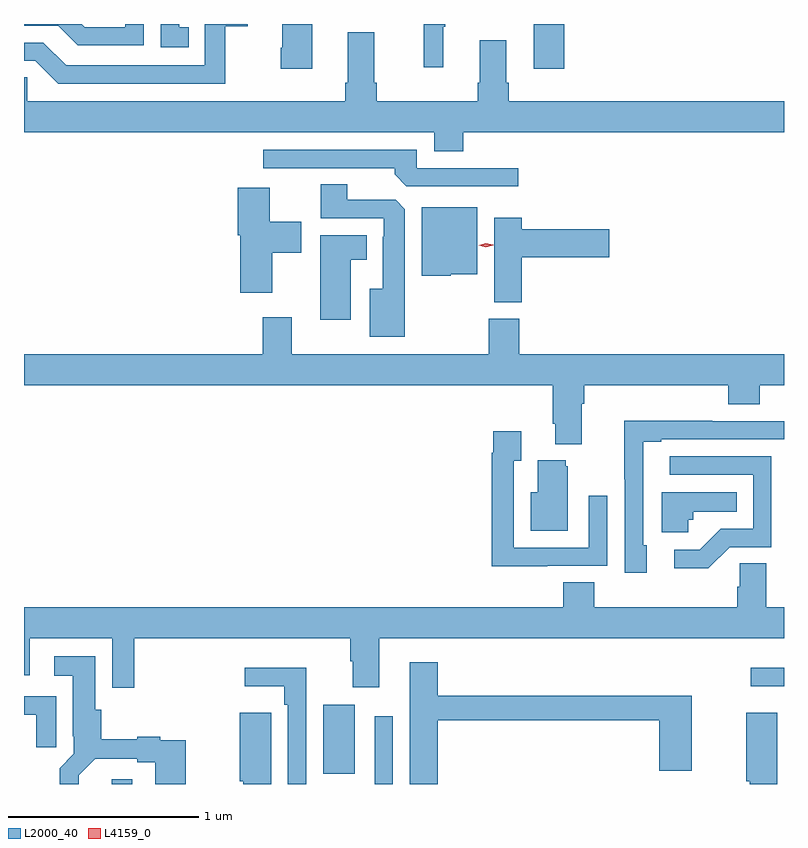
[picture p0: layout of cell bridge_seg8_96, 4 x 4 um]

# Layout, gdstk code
import gdstk
lib = gdstk.Library(unit=1e-6, precision=1e-09)
def R(c, l, rs):  # rectangles x0, y0, x1, y1
    for r in rs: c.add(gdstk.rectangle(r[:2], r[2:], *l))
def P(c, l, *ps):  # polygons
    for p in ps: c.add(gdstk.Polygon(p, *l))
L2000_40 = (2000, 40)
L4159_0 = (4159, 0)

bridge_seg8_96 = lib.new_cell('bridge_seg8_96')
R(bridge_seg8_96, L2000_40, [(766.067,1098.418,766.177,1098.442), (767.451,1098.418,767.547,1098.775), (767.18,1098.472,767.347,1098.835), (769.431,1098.932,769.606,1099.03), (768.29,1102.182,768.449,1102.418)])
P(bridge_seg8_96, L2000_40, [(766.236,1102.418),(766.14,1102.418),(766.14,1102.402),(765.926,1102.402),(765.91,1102.418),(765.606,1102.418),(765.606,1102.41),(765.785,1102.41),(765.89,1102.305),(766.236,1102.305)],
  [(767.122,1102.418),(766.964,1102.418),(766.964,1102.294),(766.957,1102.294),(766.957,1102.182),(767.122,1102.182)],
  [(766.666,1102.407),(766.784,1102.407),(766.784,1102.418),(766.557,1102.418),(766.557,1102.2),(765.828,1102.2),(765.708,1102.32),(765.606,1102.32),(765.606,1102.224),(765.666,1102.224),(765.786,1102.104),(766.666,1102.104)],
  [(766.472,1102.401),(766.423,1102.401),(766.423,1102.418),(766.326,1102.418),(766.326,1102.296),(766.472,1102.296)],
  [(767.813,1102.403),(767.824,1102.403),(767.824,1102.418),(767.71,1102.418),(767.71,1102.191),(767.813,1102.191)],
  [(767.918,1101.848),(769.606,1101.848),(769.606,1102.012),(768.158,1102.012),(768.158,1102.108),(768.145,1102.108),(768.145,1102.333),(768.005,1102.333),(768.005,1102.108),(767.993,1102.108),(767.993,1102.012),(767.462,1102.012),(767.462,1102.108),(767.449,1102.108),(767.449,1102.375),(767.309,1102.375),(767.309,1102.108),(767.297,1102.108),(767.297,1102.012),(765.624,1102.012),(765.624,1102.139),(765.606,1102.139),(765.606,1101.848),(767.765,1101.848),(767.765,1101.749),(767.918,1101.749)],
  [(768.208,1101.66),(767.673,1101.66),(767.673,1101.756),(766.866,1101.756),(766.866,1101.66),(767.558,1101.66),(767.558,1101.626),(767.619,1101.564),(768.208,1101.564)],
  [(767.611,1101.443),(767.562,1101.492),(767.308,1101.492),(767.308,1101.575),(767.168,1101.575),(767.168,1101.396),(767.499,1101.396),(767.499,1101.299),(767.495,1101.299),(767.495,1101.025),(767.426,1101.025),(767.426,1100.771),(767.611,1100.771)],
  [(766.912,1101.214),(767.065,1101.214),(767.065,1101.376),(766.9,1101.376),(766.9,1101.556),(766.73,1101.556),(766.73,1101.307),(766.745,1101.307),(766.745,1101.003),(766.912,1101.003)],
  [(767.853,1101.101),(767.992,1101.101),(767.992,1101.454),(767.699,1101.454),(767.699,1101.092),(767.853,1101.092)],
  [(768.227,1101.191),(768.685,1101.191),(768.685,1101.338),(768.227,1101.338),(768.227,1101.397),(768.08,1101.397),(768.08,1100.953),(768.227,1100.953)],
  [(767.326,1101.176),(767.41,1101.176),(767.41,1101.307),(767.165,1101.307),(767.165,1100.862),(767.326,1100.862)],
  [(768.541,1100.42),(768.554,1100.42),(768.554,1100.516),(769.313,1100.516),(769.313,1100.417),(769.478,1100.417),(769.478,1100.516),(769.606,1100.516),(769.606,1100.68),(768.212,1100.68),(768.212,1100.868),(768.052,1100.868),(768.052,1100.68),(767.014,1100.68),(767.014,1100.875),(766.862,1100.875),(766.862,1100.68),(765.606,1100.68),(765.606,1100.516),(768.389,1100.516),(768.389,1100.314),(768.401,1100.314),(768.401,1100.207),(768.541,1100.207)],
  [(768.883,1099.674),(768.864,1099.674),(768.864,1100.023),(768.865,1100.023),(768.865,1100.22),(768.961,1100.22),(768.961,1100.232),(769.606,1100.232),(769.606,1100.328),(769.229,1100.328),(769.229,1100.33),(768.766,1100.33),(768.766,1100.023),(768.768,1100.023),(768.768,1099.53),(768.883,1099.53)],
  [(768.359,1099.566),(768.675,1099.566),(768.675,1099.936),(768.579,1099.936),(768.579,1099.662),(768.183,1099.662),(768.183,1100.119),(768.223,1100.119),(768.223,1100.275),(768.075,1100.275),(768.075,1100.162),(768.067,1100.162),(768.067,1099.565),(768.359,1099.565)],
  [(769.32,1099.665),(769.539,1099.665),(769.539,1100.142),(769.005,1100.142),(769.005,1100.046),(769.443,1100.046),(769.443,1099.761),(769.274,1099.761),(769.163,1099.65),(769.029,1099.65),(769.029,1099.553),(769.207,1099.553)],
  [(768.469,1100.091),(768.458,1100.091),(768.458,1100.122),(768.311,1100.122),(768.311,1099.954),(768.272,1099.954),(768.272,1099.751),(768.469,1099.751)],
  [(769.101,1099.809),(769.128,1099.809),(769.128,1099.85),(769.358,1099.85),(769.358,1099.954),(768.962,1099.954),(768.962,1099.742),(769.101,1099.742)],
  [(766.187,1099.184),(767.324,1099.184),(767.324,1099.064),(767.336,1099.064),(767.336,1098.927),(767.476,1098.927),(767.476,1099.184),(769.606,1099.184),(769.606,1099.348),(769.513,1099.348),(769.513,1099.58),(769.374,1099.58),(769.374,1099.457),(769.361,1099.457),(769.361,1099.348),(768.608,1099.348),(768.608,1099.481),(768.443,1099.481),(768.443,1099.348),(765.606,1099.348),(765.606,1098.99),(765.637,1098.99),(765.637,1099.184),(766.071,1099.184),(766.071,1098.924),(766.187,1098.924)],
  [(765.895,1098.464),(765.982,1098.552),(766.202,1098.552),(766.202,1098.532),(766.298,1098.532),(766.298,1098.418),(766.456,1098.418),(766.456,1098.648),(766.322,1098.648),(766.322,1098.668),(766.202,1098.668),(766.202,1098.653),(766.013,1098.653),(766.013,1098.81),(765.982,1098.81),(765.982,1099.09),(765.765,1099.09),(765.765,1098.989),(765.863,1098.989),(765.863,1098.67),(765.867,1098.67),(765.867,1098.576),(765.793,1098.502),(765.793,1098.418),(765.895,1098.418)],
  [(767.783,1098.754),(768.95,1098.754),(768.95,1098.489),(769.12,1098.489),(769.12,1098.883),(767.783,1098.883),(767.783,1099.06),(767.636,1099.06),(767.636,1098.418),(767.783,1098.418)],
  [(767.091,1099.03),(766.767,1099.03),(766.767,1098.932),(766.975,1098.932),(766.975,1098.836),(766.995,1098.836),(766.995,1098.418),(767.091,1098.418)],
  [(765.775,1098.879),(765.606,1098.879),(765.606,1098.783),(765.671,1098.783),(765.671,1098.612),(765.775,1098.612)],
  [(766.906,1098.793),(766.742,1098.793),(766.742,1098.432),(766.761,1098.432),(766.761,1098.418),(766.906,1098.418)],
  [(769.57,1098.793),(769.406,1098.793),(769.406,1098.432),(769.425,1098.432),(769.425,1098.418),(769.57,1098.418)])
P(bridge_seg8_96, L4159_0, [(768.037,1101.244),(767.999,1101.254),(767.999,1101.254),(767.999,1101.254),(768.037,1101.264),(768.075,1101.255),(768.075,1101.255),(768.075,1101.254)])

lib.write_gds('bridge_seg8_96.gds')
